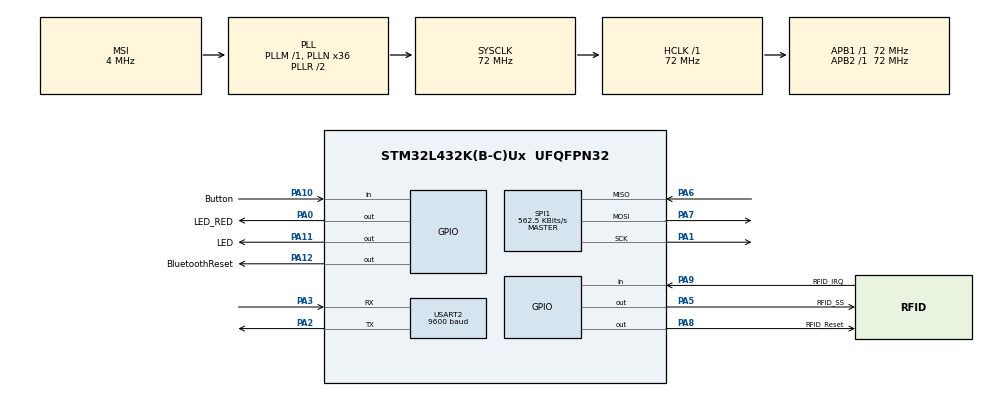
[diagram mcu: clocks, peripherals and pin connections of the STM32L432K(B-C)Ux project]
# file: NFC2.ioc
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Mcu.Family=STM32L4
Mcu.Name=STM32L432K(B-C)Ux
Mcu.Package=UFQFPN32
NVIC.PriorityGroup=NVIC_PRIORITYGROUP_4
NVIC.TIM2_IRQn=true\:0\:0\:false\:false\:true\:true\:true
NVIC.USART2_IRQn=true\:0\:0\:false\:false\:true\:true\:true
PA0.GPIO_Label=LED_RED
PA0.GPIO_Speed=GPIO_SPEED_FREQ_HIGH
PA0.Signal=GPIO_Output
PA1.Mode=Full_Duplex_Master
PA1.Signal=SPI1_SCK
PA10.GPIO_Label=Button
PA10.Signal=GPIO_Input
PA11.GPIO_Label=LED
PA11.GPIO_Speed=GPIO_SPEED_FREQ_HIGH
PA11.Signal=GPIO_Output
PA12.GPIO_Label=BluetoothReset
PA12.GPIO_Speed=GPIO_SPEED_FREQ_HIGH
PA12.Signal=GPIO_Output
PA13\ (JTMS-SWDIO).Mode=Serial_Wire
PA13\ (JTMS-SWDIO).Signal=SYS_JTMS-SWDIO
PA14\ (JTCK-SWCLK).Mode=Serial_Wire
PA14\ (JTCK-SWCLK).Signal=SYS_JTCK-SWCLK
PA2.Mode=Asynchronous
PA2.Signal=USART2_TX
PA3.Mode=Asynchronous
PA3.Signal=USART2_RX
PA5.GPIO_Label=RFID_SS
PA5.GPIO_Speed=GPIO_SPEED_FREQ_HIGH
PA5.PinState=GPIO_PIN_SET
PA5.Signal=GPIO_Output
PA6.Mode=Full_Duplex_Master
PA6.Signal=SPI1_MISO
PA7.Mode=Full_Duplex_Master
PA7.Signal=SPI1_MOSI
PA8.GPIO_Label=RFID_Reset
PA8.GPIO_Speed=GPIO_SPEED_FREQ_HIGH
PA8.Signal=GPIO_Output
PA9.GPIO_Label=RFID_IRQ
PA9.Signal=GPIO_Input
PC14-OSC32_IN\ (PC14).Mode=LSE-External-Oscillator
PC14-OSC32_IN\ (PC14).Signal=RCC_OSC32_IN
PC15-OSC32_OUT\ (PC15).Mode=LSE-External-Oscillator
PC15-OSC32_OUT\ (PC15).Signal=RCC_OSC32_OUT
ProjectManager.HeapSize=0x200
ProjectManager.StackSize=0x400
ProjectManager.TargetToolchain=MDK-ARM V5
RCC.AHBFreq_Value=72000000
RCC.APB1Freq_Value=72000000
RCC.APB1TimFreq_Value=72000000
RCC.APB2Freq_Value=72000000
RCC.APB2TimFreq_Value=72000000
RCC.CortexFreq_Value=72000000
RCC.HCLKFreq_Value=72000000
RCC.HSE_VALUE=8000000
RCC.HSI48_VALUE=48000000
RCC.HSI_VALUE=16000000
RCC.MSI_VALUE=4000000
RCC.PLLN=36
RCC.SYSCLKFreq_VALUE=72000000
RCC.SYSCLKSource=RCC_SYSCLKSOURCE_PLLCLK
RCC.VCOOutputFreq_Value=144000000
SPI1.BaudRatePrescaler=SPI_BAUDRATEPRESCALER_128
SPI1.CalculateBaudRate=562.5 KBits/s
SPI1.DataSize=SPI_DATASIZE_8BIT
SPI1.Direction=SPI_DIRECTION_2LINES
SPI1.FirstBit=SPI_FIRSTBIT_LSB
SPI1.Mode=SPI_MODE_MASTER
SPI1.VirtualType=VM_MASTER
TIM2.Period=1999
TIM2.Prescaler=720
USART2.BaudRate=9600
USART2.VirtualMode-Asynchronous=VM_ASYNC
VP_TIM2_VS_ClockSourceINT.Mode=Internal
board=custom

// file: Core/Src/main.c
/* USER CODE BEGIN Header */
/**
  ******************************************************************************
  * @file           : main.c
  * @brief          : Main program body
  ******************************************************************************
  * @attention
  *
  * <h2><center>&copy; Copyright (c) 2021 STMicroelectronics.
  * All rights reserved.</center></h2>
  *
  * This software component is licensed by ST under BSD 3-Clause license,
  * the "License"; You may not use this file except in compliance with the
  * License. You may obtain a copy of the License at:
  *                        opensource.org/licenses/BSD-3-Clause
  *
  ******************************************************************************
  */
/* USER CODE END Header */
#include "main.h"

/* USER CODE BEGIN Includes */
#include "mylibrary.h"
#include "pn532_stm32f1.h"
#include <stdio.h>
/* USER CODE END Includes */

/* USER CODE BEGIN PD */
#define use_HEXADECIMAL
/* USER CODE END PD */

SPI_HandleTypeDef hspi1;

TIM_HandleTypeDef htim2;

UART_HandleTypeDef huart2;

void SystemClock_Config(void);
static void MX_GPIO_Init(void);
static void MX_SPI1_Init(void);
static void MX_TIM2_Init(void);
static void MX_USART2_UART_Init(void);

int main(void)
{

  /* MCU Configuration--------------------------------------------------------*/

  /* Reset of all peripherals, Initializes the Flash interface and the Systick. */
  HAL_Init();

  /* Configure the system clock */
  SystemClock_Config();

  /* Initialize all configured peripherals */
  MX_GPIO_Init();
  MX_SPI1_Init();
  MX_TIM2_Init();
  MX_USART2_UART_Init();
  /* USER CODE BEGIN 2 */
  HAL_Delay(200);
  HAL_GPIO_WritePin(BluetoothReset_GPIO_Port, BluetoothReset_Pin, GPIO_PIN_SET);
  HAL_Delay(1000);
  memset(buffer, 0, sizeof(buffer));
  HAL_TIM_Base_Start_IT(&htim2);
  __HAL_UART_ENABLE_IT(&huart2, UART_IT_RXNE);

  uint8_t buff[255];
  uint8_t uid[MIFARE_UID_MAX_LENGTH];
  int32_t uid_len = 0;
  PN532 pn532;
  PN532_SPI_Init(&pn532);
  if (PN532_GetFirmwareVersion(&pn532, buff) != PN532_STATUS_OK)
  {
		uint8_t err[] = "\rERROR CONNECTING TO SENSOR1\n\r";
    while(1)
    {
			HAL_UART_Transmit(&huart2,err,sizeof(err), 10000);
    	HAL_GPIO_WritePin(LED_GPIO_Port, LED_Pin, GPIO_PIN_SET);
    	HAL_Delay(250);
    	HAL_GPIO_WritePin(LED_GPIO_Port, LED_Pin, GPIO_PIN_RESET);
    	HAL_Delay(250);
    }
  }
	else
	{
		uint8_t scc[] = "\rSUCCESS CONNECTION TO NFC SENSOR\n\r";
		HAL_UART_Transmit(&huart2,scc,sizeof(scc), 10000);
	}
  PN532_SamConfiguration(&pn532);
  /* USER CODE END 2 */

  /* Infinite loop */
  while (1)
  {

    /* USER CODE BEGIN 3 */
	  	memset(uid, 0, sizeof(uid));
	    uid_len = PN532_ReadPassiveTarget(&pn532, uid, PN532_MIFARE_ISO14443A, 1000);
	    if (uid_len != PN532_STATUS_ERROR)
	    {
				uint8_t newline = '\r';
				HAL_UART_Transmit(&huart2, &newline, sizeof(newline), 500);
	    	HAL_GPIO_WritePin(LED_GPIO_Port, LED_Pin, GPIO_PIN_RESET);
				HAL_GPIO_WritePin(LED_RED_GPIO_Port, LED_RED_Pin, GPIO_PIN_RESET);
	    	memset(buffer, 0, sizeof(buffer));
	    	char stringForHex[5];
	    	for(uint8_t i=0; i<uid_len; i++)
	    	{
	    		memset(stringForHex, 0, sizeof(stringForHex));
				#ifdef use_HEXADECIMAL
	    		sprintf(stringForHex, "%02X ", (unsigned char)uid[i]);
				#else
	    		sprintf(stringForHex, "%d ", (unsigned char)uid[i]);
				#endif
	    		strcat(buffer, stringForHex);
	    	}
				uint8_t cardReader[] = {0xD9,0x5E,0x35,0xBB,0x00,0x00,0x00,0x00,0x00,0x00}, adminPhone[10] = {0x4B,0xC8,0x4F,0xC1,0x00,0x00,0x00,0x00,0x00,0x00};
				if(memcmp(uid, adminPhone, sizeof(uid)) == 0 || memcmp(uid, cardReader, sizeof(uid)) == 0)
				{
//					buffer[strlen(buffer)-1] = '\n';
//					HAL_UART_Transmit(&huart2, (uint8_t*)buffer, strlen(buffer), 500);
					uint8_t granted[] = "Access Granted, Welcome Back!\n\r";
					HAL_UART_Transmit(&huart2, granted, sizeof(granted), 500);
					HAL_UART_Transmit(&huart2, &newline, sizeof(newline), 500);
					HAL_GPIO_WritePin(LED_GPIO_Port, LED_Pin, GPIO_PIN_SET);
					HAL_Delay(1000);
					HAL_GPIO_WritePin(LED_GPIO_Port, LED_Pin, GPIO_PIN_RESET);
					HAL_Delay(1000);
				}
				else
				{
//					buffer[strlen(buffer)-1] = '\n';
//					HAL_UART_Transmit(&huart2, (uint8_t*)buffer, strlen(buffer), 500);
					uint8_t failer[] = "Access Denied!\n\r";
					HAL_UART_Transmit(&huart2, failer, sizeof(failer), 500);
					HAL_UART_Transmit(&huart2, &newline, sizeof(newline), 500);
					HAL_GPIO_WritePin(LED_RED_GPIO_Port, LED_RED_Pin, GPIO_PIN_SET);
					HAL_Delay(1000);
					HAL_GPIO_WritePin(LED_RED_GPIO_Port, LED_RED_Pin, GPIO_PIN_RESET);
					HAL_Delay(1000);
				}
	    }
  }
  /* USER CODE END 3 */
}

void SystemClock_Config(void)
{
  RCC_OscInitTypeDef RCC_OscInitStruct = {0};
  RCC_ClkInitTypeDef RCC_ClkInitStruct = {0};

  /** Configure the main internal regulator output voltage
  */
  if (HAL_PWREx_ControlVoltageScaling(PWR_REGULATOR_VOLTAGE_SCALE1) != HAL_OK)
  {
    Error_Handler();
  }
  /** Configure LSE Drive Capability
  */
  HAL_PWR_EnableBkUpAccess();
  __HAL_RCC_LSEDRIVE_CONFIG(RCC_LSEDRIVE_LOW);
  /** Initializes the RCC Oscillators according to the specified parameters
  * in the RCC_OscInitTypeDef structure.
  */
  RCC_OscInitStruct.OscillatorType = RCC_OSCILLATORTYPE_LSE|RCC_OSCILLATORTYPE_MSI;
  RCC_OscInitStruct.LSEState = RCC_LSE_ON;
  RCC_OscInitStruct.MSIState = RCC_MSI_ON;
  RCC_OscInitStruct.MSICalibrationValue = 0;
  RCC_OscInitStruct.MSIClockRange = RCC_MSIRANGE_6;
  RCC_OscInitStruct.PLL.PLLState = RCC_PLL_ON;
  RCC_OscInitStruct.PLL.PLLSource = RCC_PLLSOURCE_MSI;
  RCC_OscInitStruct.PLL.PLLM = 1;
  RCC_OscInitStruct.PLL.PLLN = 36;
  RCC_OscInitStruct.PLL.PLLP = RCC_PLLP_DIV7;
  RCC_OscInitStruct.PLL.PLLQ = RCC_PLLQ_DIV2;
  RCC_OscInitStruct.PLL.PLLR = RCC_PLLR_DIV2;
  if (HAL_RCC_OscConfig(&RCC_OscInitStruct) != HAL_OK)
  {
    Error_Handler();
  }
  /** Initializes the CPU, AHB and APB buses clocks
  */
  RCC_ClkInitStruct.ClockType = RCC_CLOCKTYPE_HCLK|RCC_CLOCKTYPE_SYSCLK
                              |RCC_CLOCKTYPE_PCLK1|RCC_CLOCKTYPE_PCLK2;
  RCC_ClkInitStruct.SYSCLKSource = RCC_SYSCLKSOURCE_PLLCLK;
  RCC_ClkInitStruct.AHBCLKDivider = RCC_SYSCLK_DIV1;
  RCC_ClkInitStruct.APB1CLKDivider = RCC_HCLK_DIV1;
  RCC_ClkInitStruct.APB2CLKDivider = RCC_HCLK_DIV1;

  if (HAL_RCC_ClockConfig(&RCC_ClkInitStruct, FLASH_LATENCY_4) != HAL_OK)
  {
    Error_Handler();
  }
  /** Enable MSI Auto calibration
  */
  HAL_RCCEx_EnableMSIPLLMode();
}

static void MX_SPI1_Init(void)
{

  /* SPI1 parameter configuration*/
  hspi1.Instance = SPI1;
  hspi1.Init.Mode = SPI_MODE_MASTER;
  hspi1.Init.Direction = SPI_DIRECTION_2LINES;
  hspi1.Init.DataSize = SPI_DATASIZE_8BIT;
  hspi1.Init.CLKPolarity = SPI_POLARITY_LOW;
  hspi1.Init.CLKPhase = SPI_PHASE_1EDGE;
  hspi1.Init.NSS = SPI_NSS_SOFT;
  hspi1.Init.BaudRatePrescaler = SPI_BAUDRATEPRESCALER_128;
  hspi1.Init.FirstBit = SPI_FIRSTBIT_LSB;
  hspi1.Init.TIMode = SPI_TIMODE_DISABLE;
  hspi1.Init.CRCCalculation = SPI_CRCCALCULATION_DISABLE;
  hspi1.Init.CRCPolynomial = 7;
  hspi1.Init.CRCLength = SPI_CRC_LENGTH_DATASIZE;
  hspi1.Init.NSSPMode = SPI_NSS_PULSE_ENABLE;
  if (HAL_SPI_Init(&hspi1) != HAL_OK)
  {
    Error_Handler();
  }

}

static void MX_TIM2_Init(void)
{

  TIM_ClockConfigTypeDef sClockSourceConfig = {0};
  TIM_MasterConfigTypeDef sMasterConfig = {0};

  htim2.Instance = TIM2;
  htim2.Init.Prescaler = 720;
  htim2.Init.CounterMode = TIM_COUNTERMODE_UP;
  htim2.Init.Period = 1999;
  htim2.Init.ClockDivision = TIM_CLOCKDIVISION_DIV1;
  htim2.Init.AutoReloadPreload = TIM_AUTORELOAD_PRELOAD_DISABLE;
  if (HAL_TIM_Base_Init(&htim2) != HAL_OK)
  {
    Error_Handler();
  }
  sClockSourceConfig.ClockSource = TIM_CLOCKSOURCE_INTERNAL;
  if (HAL_TIM_ConfigClockSource(&htim2, &sClockSourceConfig) != HAL_OK)
  {
    Error_Handler();
  }
  sMasterConfig.MasterOutputTrigger = TIM_TRGO_RESET;
  sMasterConfig.MasterSlaveMode = TIM_MASTERSLAVEMODE_DISABLE;
  if (HAL_TIMEx_MasterConfigSynchronization(&htim2, &sMasterConfig) != HAL_OK)
  {
    Error_Handler();
  }

}

static void MX_USART2_UART_Init(void)
{

  huart2.Instance = USART2;
  huart2.Init.BaudRate = 9600;
  huart2.Init.WordLength = UART_WORDLENGTH_8B;
  huart2.Init.StopBits = UART_STOPBITS_1;
  huart2.Init.Parity = UART_PARITY_NONE;
  huart2.Init.Mode = UART_MODE_TX_RX;
  huart2.Init.HwFlowCtl = UART_HWCONTROL_NONE;
  huart2.Init.OverSampling = UART_OVERSAMPLING_16;
  huart2.Init.OneBitSampling = UART_ONE_BIT_SAMPLE_DISABLE;
  huart2.AdvancedInit.AdvFeatureInit = UART_ADVFEATURE_NO_INIT;
  if (HAL_UART_Init(&huart2) != HAL_OK)
  {
    Error_Handler();
  }

}

static void MX_GPIO_Init(void)
{
  GPIO_InitTypeDef GPIO_InitStruct = {0};

  /* GPIO Ports Clock Enable */
  __HAL_RCC_GPIOC_CLK_ENABLE();
  __HAL_RCC_GPIOA_CLK_ENABLE();

  /*Configure GPIO pin Output Level */
  HAL_GPIO_WritePin(GPIOA, LED_RED_Pin|RFID_Reset_Pin|LED_Pin|BluetoothReset_Pin, GPIO_PIN_RESET);

  /*Configure GPIO pin Output Level */
  HAL_GPIO_WritePin(RFID_SS_GPIO_Port, RFID_SS_Pin, GPIO_PIN_SET);

  /*Configure GPIO pins : LED_RED_Pin RFID_SS_Pin RFID_Reset_Pin LED_Pin
                           BluetoothReset_Pin */
  GPIO_InitStruct.Pin = LED_RED_Pin|RFID_SS_Pin|RFID_Reset_Pin|LED_Pin
                          |BluetoothReset_Pin;
  GPIO_InitStruct.Mode = GPIO_MODE_OUTPUT_PP;
  GPIO_InitStruct.Pull = GPIO_NOPULL;
  GPIO_InitStruct.Speed = GPIO_SPEED_FREQ_HIGH;
  HAL_GPIO_Init(GPIOA, &GPIO_InitStruct);

  /*Configure GPIO pins : RFID_IRQ_Pin Button_Pin */
  GPIO_InitStruct.Pin = RFID_IRQ_Pin|Button_Pin;
  GPIO_InitStruct.Mode = GPIO_MODE_INPUT;
  GPIO_InitStruct.Pull = GPIO_NOPULL;
  HAL_GPIO_Init(GPIOA, &GPIO_InitStruct);

}

void Error_Handler(void)
{
  __disable_irq();
  while (1)
  {
  }
}

/************************ (C) COPYRIGHT STMicroelectronics *****END OF FILE****/
